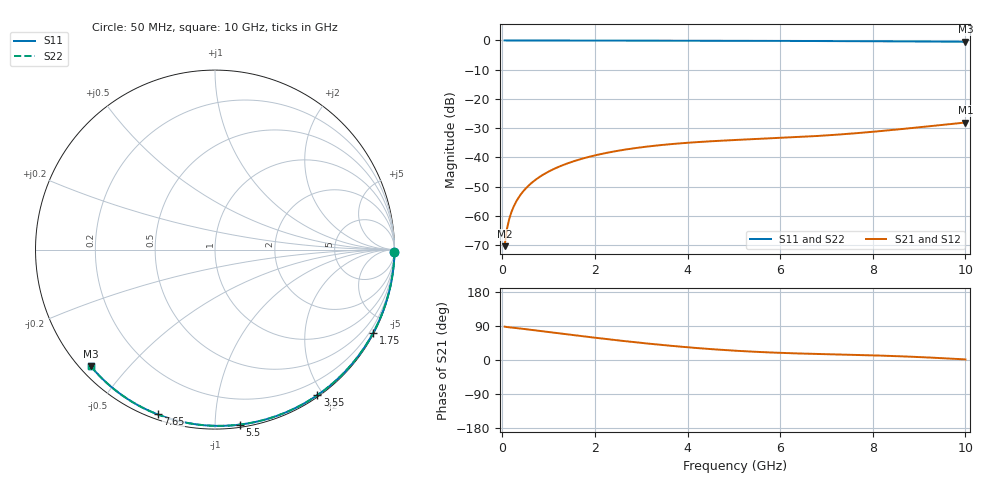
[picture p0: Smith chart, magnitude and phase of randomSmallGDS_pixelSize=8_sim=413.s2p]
! freq	dB(S11)	phase(S11)	dB(S12)	phase(S12)
!  dB(S21)	phase(S21)	dB(S22)	phase(S22)
!S-par simulation data
#  GHz  S  DB  R 50
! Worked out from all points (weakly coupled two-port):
!   200 points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, 50 MHz to 10 GHz, reference 50 ohm
!   highest |S21| = -28.07 dB at 10 GHz (marker M1); lowest = -70.4 dB at 50 MHz (marker M2)
!   lowest |S11| = -0.5 dB at 10 GHz (marker M3), VSWR 38.17, Z = 1.51 - j19.7 ohm
!   |S11| at or under -10 dB: nowhere
!   |S22| runs from -0.5 to 0.0 dB; largest |S21 - S12| = 0
!   S11 on the Smith chart (normalised r, x): 50 MHz: open; 1.75 GHz: 0.04, -4.05; 3.55 GHz: 0.02, -1.93; 5.5 GHz: 0.02, -1.15; 7.65 GHz: 0.02, -0.71; 10 GHz: 0.03, -0.39
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0.05  -0.00 -0.8  -70.35 88.1  -70.35 88.1  -0.00 -0.8
0.1  -0.00 -1.6  -64.46 87.0  -64.46 87.0  -0.00 -1.6
0.15  -0.00 -2.4  -61.02 86.2  -61.02 86.2  -0.00 -2.4
0.2  -0.00 -3.2  -58.58 85.6  -58.58 85.6  -0.00 -3.2
0.25  -0.00 -4.0  -56.67 85.0  -56.67 85.0  -0.00 -4.0
0.35  -0.00 -5.6  -53.79 83.6  -53.79 83.6  -0.00 -5.6
0.5  -0.01 -8.0  -50.73 81.4  -50.73 81.4  -0.01 -8.0
0.7  -0.01 -11.2  -47.86 78.4  -47.86 78.4  -0.01 -11.2
1  -0.02 -16.0  -44.85 73.8  -44.85 73.8  -0.02 -16.0
1.35  -0.03 -21.5  -42.38 68.5  -42.38 68.5  -0.03 -21.5
1.75  -0.04 -27.8  -40.32 62.5  -40.32 62.5  -0.04 -27.8
2.5  -0.05 -39.3  -37.72 51.8  -37.72 51.8  -0.05 -39.3
3.4  -0.07 -52.7  -35.82 40.3  -35.82 40.3  -0.07 -52.7
3.55  -0.07 -54.9  -35.59 38.5  -35.59 38.5  -0.07 -54.9
4.3  -0.09 -65.6  -34.67 30.6  -34.67 30.6  -0.09 -65.6
5.05  -0.12 -76.0  -34.02 24.4  -34.02 24.4  -0.12 -76.0
5.5  -0.13 -82.0  -33.70 21.4  -33.70 21.4  -0.13 -82.0
6.7  -0.19 -97.5  -32.76 16.2  -32.76 16.2  -0.19 -97.5
7.65  -0.25 -109.2  -31.71 13.4  -31.71 13.4  -0.25 -109.2
8.35  -0.30 -117.6  -30.72 10.9  -30.72 10.9  -0.30 -117.6
9.2  -0.37 -127.6  -29.38 6.6  -29.38 6.6  -0.37 -127.6
10  -0.46 -136.9  -28.07 1.5  -28.07 1.5  -0.46 -136.9
